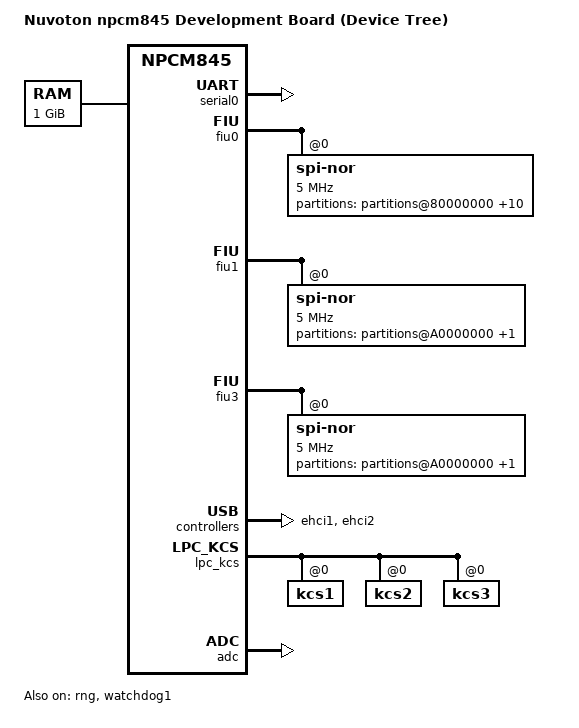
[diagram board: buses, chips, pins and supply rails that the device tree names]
// SPDX-License-Identifier: GPL-2.0
// Copyright (c) 2021 Nuvoton Technology tomer.maimon@nuvoton.com

/dts-v1/;
#include "nuvoton-npcm845.dtsi"
#include "nuvoton-npcm845-pincfg-evb.dtsi"

/ {
	model = "Nuvoton npcm845 Development Board (Device Tree)";
	compatible = "nuvoton,npcm845-evb", "nuvoton,npcm845";

	aliases {
		serial0 = &serial0;
		fiu0 = &fiu0;
		fiu1 = &fiu1;
		fiu2 = &fiu3;
		fiu3 = &fiux;
	};

	chosen {
		stdout-path = &serial0;
	};

	memory {
		reg = <0x0 0x0 0x0 0x40000000>;
	};
};

&serial0 {
	status = "okay";
};

&fiu0 {
	status = "okay";
	spi-nor@0 {
		compatible = "jedec,spi-nor";
		#address-cells = <1>;
		#size-cells = <1>;
		spi-rx-bus-width = <4>;
		reg = <0>;
		spi-max-frequency = <5000000>;
		partitions@80000000 {
			compatible = "fixed-partitions";
			#address-cells = <1>;
			#size-cells = <1>;
			bbuboot1@0 {
				label = "bb-uboot-1";
				reg = <0x0000000 0x80000>;
				read-only;
				};
			bbuboot2@80000 {
				label = "bb-uboot-2";
				reg = <0x0080000 0x80000>;
				read-only;
				};
			envparam@100000 {
				label = "env-param";
				reg = <0x0100000 0x40000>;
				read-only;
				};
			spare@140000 {
				label = "spare";
				reg = <0x0140000 0xC0000>;
				};
			kernel@200000 {
				label = "kernel";
				reg = <0x0200000 0x400000>;
				};
			rootfs@600000 {
				label = "rootfs";
				reg = <0x0600000 0x700000>;
				};
			spare1@D00000 {
				label = "spare1";
				reg = <0x0D00000 0x200000>;
				};
			spare2@0F00000 {
				label = "spare2";
				reg = <0x0F00000 0x200000>;
				};
			spare3@1100000 {
				label = "spare3";
				reg = <0x1100000 0x200000>;
				};
			spare4@1300000 {
				label = "spare4";
				reg = <0x1300000 0x0>;
			};
		};
	};
};

&fiu1 {
	/*pinctrl-0 = <&spi1_pins>, <&spi1quad_pins>;*/
	status = "okay";
	spi-nor@0 {
		compatible = "jedec,spi-nor";
		#address-cells = <1>;
		#size-cells = <1>;
		spi-rx-bus-width = <2>;
		reg = <0>;
		spi-max-frequency = <5000000>;
		partitions@A0000000 {
			compatible = "fixed-partitions";
			#address-cells = <1>;
			#size-cells = <1>;
			system1@0 {
				label = "spi1-system1";
				reg = <0x0 0x0>;
			};
		};
	};
};

&fiu3 {
	pinctrl-0 = <&spi3_pins>, <&spi3quad_pins>;
	status = "okay";
	spi-nor@0 {
		compatible = "jedec,spi-nor";
		#address-cells = <1>;
		#size-cells = <1>;
		spi-rx-bus-width = <1>;
		reg = <0>;
		spi-max-frequency = <5000000>;
		partitions@A0000000 {
			compatible = "fixed-partitions";
			#address-cells = <1>;
			#size-cells = <1>;
			system1@0 {
				label = "spi3-system1";
				reg = <0x0 0x0>;
			};
		};
	};
};

&fiux {
	spix-mode;
};

&ehci1 {
	status = "okay";
};

&ehci2 {
	status = "okay";
};

&lpc_kcs {
	kcs1: kcs1@0 {
		status = "okay";
	};

	kcs2: kcs2@0 {
		status = "okay";
	};

	kcs3: kcs3@0 {
		status = "okay";
	};
};

&rng {
	status = "okay";
};

&adc {
	#io-channel-cells = <1>;
	status = "okay";
};

&watchdog1 {
	status = "okay";
};

&pinctrl {
	pinctrl-names = "default";
	pinctrl-0 = <
			&jtag2_pins
			&lpc_pins
			&spix_pins
			&pin108_slew
			&pin109_slew
			&pin240_slew
			&pin241_slew
			&pin242_slew
			&pin243_slew>;
};
